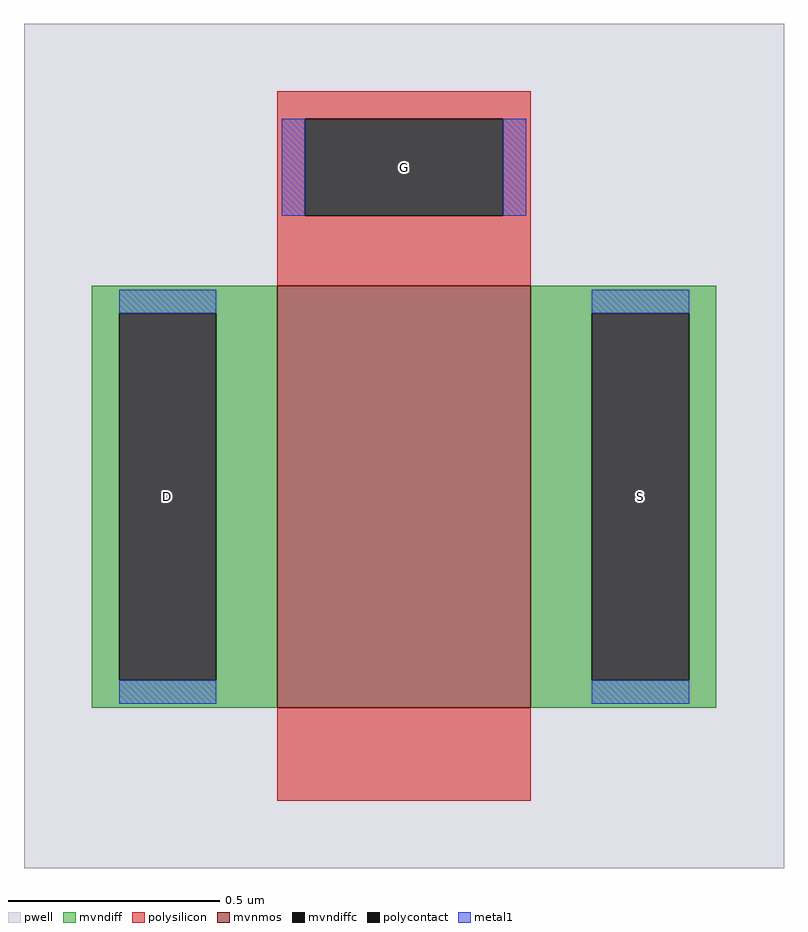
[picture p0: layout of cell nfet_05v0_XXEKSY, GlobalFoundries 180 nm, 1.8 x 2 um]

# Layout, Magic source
magic
tech gf180mcuD
magscale 1 10
<< pwell >>
rect -180 -200 180 200
<< mvnmos >>
rect -60 -124 60 76
<< mvndiff >>
rect -148 63 -60 76
rect -148 -111 -135 63
rect -89 -111 -60 63
rect -148 -124 -60 -111
rect 60 63 148 76
rect 60 -111 89 63
rect 135 -111 148 63
rect 60 -124 148 -111
<< mvndiffc >>
rect -135 -111 -89 63
rect 89 -111 135 63
<< polysilicon >>
rect -60 155 60 168
rect -60 109 -47 155
rect 47 109 60 155
rect -60 76 60 109
rect -60 -168 60 -124
<< polycontact >>
rect -47 109 47 155
<< metal1 >>
rect -58 109 -47 155
rect 47 109 58 155
rect -135 63 -89 74
rect -135 -122 -89 -111
rect 89 63 135 74
rect 89 -122 135 -111
<< labels >>
rlabel mvndiffc -112 -24 -112 -24 0 D
port 1 nsew
rlabel mvndiffc 112 -24 112 -24 0 S
port 2 nsew
rlabel polycontact 0 132 0 132 0 G
port 3 nsew
<< properties >>
string gencell nfet_05v0
string library gf180mcu
string parameters w 1.0 l 0.6 m 1 nf 1 diffcov 100 polycov 100 guard 0 glc 0 grc 0 gtc 0 gbc 0 tbcov 100 rlcov 100 topc 1 botc 0 poverlap 0 doverlap 0 lmin 0.6 wmin 0.3 class mosfet full_metal 0 viasrc 0 viadrn 0 viagate 0 viagb 0 viagr 0 viagl 0 viagt 0 doports 1 compatible {nfet_03v3 nfet_05v0 nfet_06v0 nfet_06v0_nvt}
<< end >>
